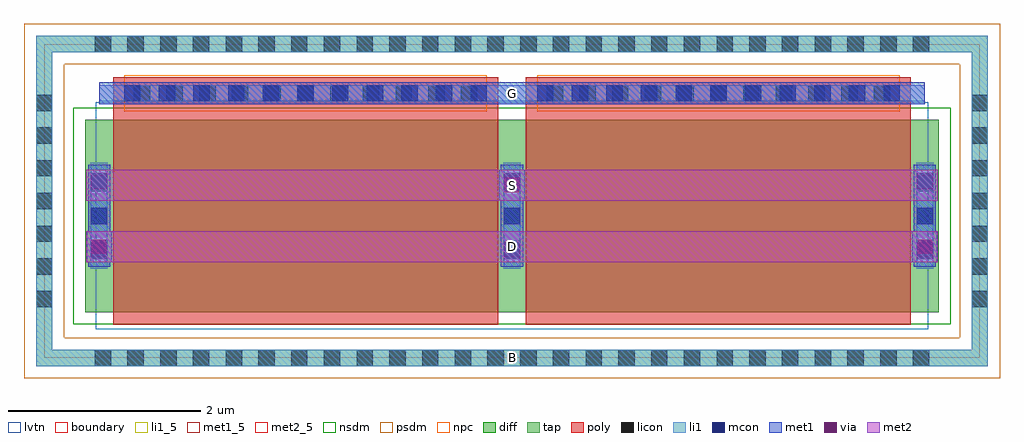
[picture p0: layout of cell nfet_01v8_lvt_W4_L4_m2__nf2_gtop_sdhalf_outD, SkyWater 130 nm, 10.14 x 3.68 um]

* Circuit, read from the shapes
.subckt nfet_01v8_lvt_W4_L4_m2__nf2_gtop_sdhalf_outD B D G S
XM1 S G D B sky130_fd_pr__nfet_01v8_lvt w=2 l=4 m=2
.ends

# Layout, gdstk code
import gdstk
lib = gdstk.Library(unit=1e-6, precision=1e-09)
def R(c, l, rs):  # rectangles x0, y0, x1, y1
    for r in rs: c.add(gdstk.rectangle(r[:2], r[2:], *l))
def A(c, l, x, y, w, h, nx, ny, dx, dy):  # array of equal rectangles
    R(c, l, [(x+i*dx, y+j*dy, x+i*dx+w, y+j*dy+h) for i in range(nx) for j in range(ny)])
diff = (65, 20)
tap = (65, 44)
poly = (66, 20)
licon = (66, 44)
li1_5 = (67, 5)
li1 = (67, 20)
mcon = (67, 44)
met1_5 = (68, 5)
met1 = (68, 20)
via = (68, 44)
met2_5 = (69, 5)
met2 = (69, 20)
nsdm = (93, 44)
psdm = (94, 20)
npc = (95, 20)
lvtn = (125, 44)
boundary = (235, 4)

sky130_fd_pr__nfet_01v8_ = lib.new_cell('sky130_fd_pr__nfet_01v8_lvt_GUBQNF')
R(sky130_fd_pr__nfet_01v8_, diff, [(-4.435,-1.155,4.435,0.845)])
R(sky130_fd_pr__nfet_01v8_, tap, [(-4.945,-1.715,4.945,-1.545), (-4.945,-1.545,-4.775,1.545), (4.775,-1.545,4.945,1.545), (-4.945,1.545,4.945,1.715)])
R(sky130_fd_pr__nfet_01v8_, poly, [(-4.145,-1.285,-0.145,1.285), (0.145,-1.285,4.145,1.285)])
A(sky130_fd_pr__nfet_01v8_, licon, -4.335, -1.715, 0.17, 0.17, 26, 2, 0.34, 3.26)
A(sky130_fd_pr__nfet_01v8_, licon, -4.945, -1.105, 0.17, 0.17, 1, 7, 0, 0.34)
A(sky130_fd_pr__nfet_01v8_, licon, 4.775, -1.105, 0.17, 0.17, 1, 7, 0, 0.34)
A(sky130_fd_pr__nfet_01v8_, licon, -4.375, -0.58, 0.17, 0.17, 3, 3, 4.29, 0.34)
A(sky130_fd_pr__nfet_01v8_, licon, -3.93, 1.035, 0.17, 0.17, 11, 1, 0.34, 0)
A(sky130_fd_pr__nfet_01v8_, licon, 0.36, 1.035, 0.17, 0.17, 11, 1, 0.34, 0)
A(sky130_fd_pr__nfet_01v8_, li1, -4.375, -0.705, 0.17, 1.1, 3, 1, 4.29, 0)
R(sky130_fd_pr__nfet_01v8_, li1, [(-4.945,-1.715,4.945,-1.545), (-4.945,-1.545,-4.775,1.545), (4.775,-1.545,4.945,1.545), (-4.29,1.035,4.29,1.205), (-4.945,1.545,4.945,1.715)])
A(sky130_fd_pr__nfet_01v8_, mcon, -4.375, -0.6, 0.17, 0.17, 3, 3, 4.29, 0.36)
A(sky130_fd_pr__nfet_01v8_, mcon, -4.03, 1.035, 0.17, 0.17, 11, 1, 0.36, 0)
A(sky130_fd_pr__nfet_01v8_, mcon, 0.26, 1.035, 0.17, 0.17, 11, 1, 0.36, 0)
A(sky130_fd_pr__nfet_01v8_, met1, -4.405, -0.685, 0.23, 1.06, 3, 1, 4.29, 0)
R(sky130_fd_pr__nfet_01v8_, met1, [(-4.125,1.005,-0.165,1.035), (0.165,1.005,4.125,1.035), (-4.29,1.035,4.29,1.205), (-4.125,1.205,-0.165,1.235), (0.165,1.205,4.125,1.235)])
R(sky130_fd_pr__nfet_01v8_, nsdm, [(-4.56,-1.28,4.56,0.97)])
R(sky130_fd_pr__nfet_01v8_, psdm, [(-5.07,-1.84,5.07,-1.42), (-5.07,-1.42,-4.65,1.42), (4.65,-1.42,5.07,1.42), (-5.07,1.42,5.07,1.84)])
R(sky130_fd_pr__nfet_01v8_, npc, [(-4.03,0.935,-0.26,1.305), (0.26,0.935,4.03,1.305)])
R(sky130_fd_pr__nfet_01v8_, lvtn, [(-4.325,-1.335,4.325,1.025)])
R(sky130_fd_pr__nfet_01v8_, boundary, [(-4.86,-1.63,4.86,1.63)])
sky130_fd_pr__nfet_01v8_.add(gdstk.Label('B', (0,-1.63), layer=67, texttype=5))
sky130_fd_pr__nfet_01v8_.add(gdstk.Label('D0', (-4.29,-0.155), layer=67, texttype=5))
sky130_fd_pr__nfet_01v8_.add(gdstk.Label('G', (2.145,1.12), layer=67, texttype=5))
sky130_fd_pr__nfet_01v8_.add(gdstk.Label('G', (-2.145,1.12), layer=67, texttype=5))
sky130_fd_pr__nfet_01v8_.add(gdstk.Label('S1', (0,-0.155), layer=67, texttype=5))

nfet_01v8_lvt_w4_l4_m2__ = lib.new_cell('nfet_01v8_lvt_W4_L4_m2__nf2_gtop_sdhalf_outD')
R(nfet_01v8_lvt_w4_l4_m2__, li1_5, [(4.775,-0.085,4.945,0.085)])
R(nfet_01v8_lvt_w4_l4_m2__, li1, [(4.775,-0.085,4.945,0.085)])
R(nfet_01v8_lvt_w4_l4_m2__, met1_5, [(0.57,2.635,9.15,2.865)])
R(nfet_01v8_lvt_w4_l4_m2__, met1, [(0.44,0.995,0.7,1.315), (9.02,0.995,9.28,1.315), (4.73,1.635,4.99,1.955), (0.57,2.635,9.15,2.865)])
R(nfet_01v8_lvt_w4_l4_m2__, via, [(0.495,1.08,0.645,1.23), (9.075,1.08,9.225,1.23), (4.785,1.72,4.935,1.87)])
R(nfet_01v8_lvt_w4_l4_m2__, met2_5, [(0.435,0.995,9.285,1.315), (0.435,1.635,9.285,1.955)])
R(nfet_01v8_lvt_w4_l4_m2__, met2, [(0.435,0.995,9.285,1.315), (0.435,1.635,9.285,1.955)])
nfet_01v8_lvt_w4_l4_m2__.add(gdstk.Reference(sky130_fd_pr__nfet_01v8_, (4.86,1.63)))
nfet_01v8_lvt_w4_l4_m2__.add(gdstk.Label('S', (4.86,1.795), layer=69, texttype=5))
nfet_01v8_lvt_w4_l4_m2__.add(gdstk.Label('D', (4.86,1.155), layer=69, texttype=5))
nfet_01v8_lvt_w4_l4_m2__.add(gdstk.Label('G', (4.86,2.75), layer=68, texttype=5))
nfet_01v8_lvt_w4_l4_m2__.add(gdstk.Label('B', (4.86,0), layer=67, texttype=5))

lib.write_gds('nfet_01v8_lvt_W4_L4_m2__nf2_gtop_sdhalf_outD.gds')
